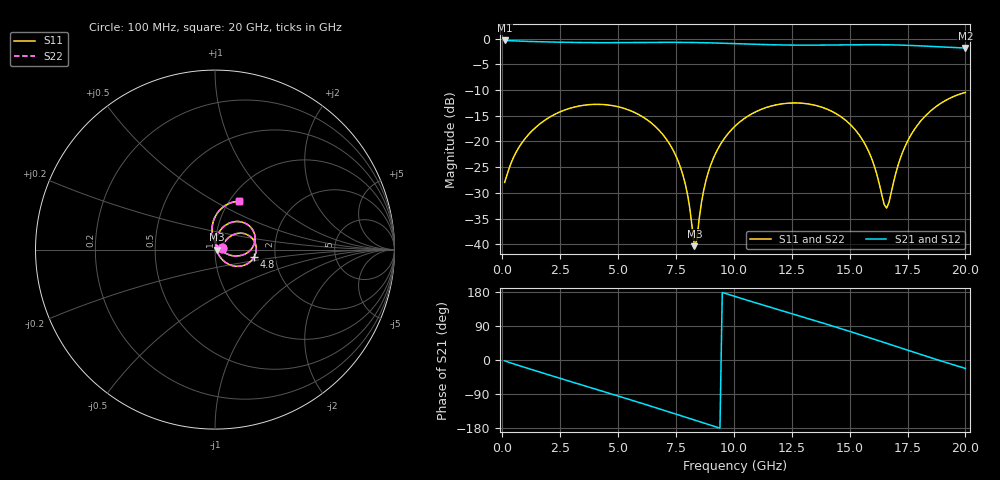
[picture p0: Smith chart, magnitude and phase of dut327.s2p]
! Touchstone file exported from HFSS 2026.1.0
!  File:  C:/ffzhzh/LocalFiles/Ansys_Project_Files/temp_train_TSV_RDL_327_1783032497_53980.aedt
!  Generated:  07:02:27 AM Jul  3, 2026
!  Design:  TSV_RDL
!  Project:  temp_train_TSV_RDL_327_1783032497_53980
! Variables:
!  h_bsmrdl = 2.47um
!  h_ox = 20um
!  h_rdl = 5um
!  h_sub = 52.31um
!  h_tmrdl = 3.34um
!  h_tsv = 52.31um
!  h_via = 3um
!  l_bsmrdl = 854.5um
!  l_sub = 6599.39um
!  l_tmrdl = 877.51um
!  m_sub = 200um
!  pitch = 28.67um
!  r_tsv = 5.45um
!  s_tmrdl = 10um
!  w_bsmrdl = 25.12um
!  w_sub = 500um
!  w_tmrdl = 16.83um
!  x_tsv_center1 = 885.925um
!  x_tsv_center2 = 1765.545um
!  x_tsv_center3 = 2659.885um
!  x_tsv_center4 = 3539.505um
!  x_tsv_center5 = 4433.845um
!  x_tsv_center6 = 5313.465um
# GHz S MA R 50.000000
! Terminal data exported
! Port[1] = TM_RDL1_1_T1
! Port[2] = TM_RDL5_1_T1
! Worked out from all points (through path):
!   200 points, 100 MHz to 20 GHz, reference 50 ohm
!   highest |S21| = -0.34 dB at 100 MHz (marker M1); lowest = -1.8 dB at 20 GHz (marker M2)
!   group delay of S21, straight-line fit = 52.9 ps
!   lowest |S11| = -40.4 dB at 8.3 GHz (marker M3), VSWR 1.02, Z = 51 - j0.0411 ohm
!   |S11| at or under -10 dB: start of sweep to end of sweep
!   |S22| runs from -40.9 to -10.5 dB; largest |S21 - S12| = 2.8e-14
!   S11 on the Smith chart (normalised r, x): 100 MHz: 1.08, +0.02; 4.8 GHz: 1.55, -0.13; 20 GHz: 1.11, +0.65
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0.1  0.04001 16.7  0.962 -2.2  0.962 -2.2  0.04001 16.7
! Gamma 0 0 0 0
! Port Impedance 50 0 50 0
0.6  0.07896 40.2  0.9498 -12.4  0.9498 -12.4  0.07897 40.2
1.3  0.128 39.5  0.9386 -25.8  0.9386 -25.8  0.128 39.5
3.5  0.225 11.0  0.9177 -67.1  0.9177 -67.1  0.225 10.9
4.8  0.2226 -10.2  0.9158 -91.2  0.9158 -91.2  0.2226 -10.3
6.8  0.1266 -43.8  0.9224 -129.2  0.9224 -129.2  0.1265 -44.0
7.8  0.04721 -55.3  0.9216 -148.7  0.9216 -148.7  0.0471 -55.9
8.1  0.02227 -47.7  0.92 -154.6  0.92 -154.6  0.02203 -49.0
8.3  0.009578 -2.4  0.9186 -158.5  0.9186 -158.5  0.009046 -3.3
8.4  0.011 45.8  0.9178 -160.4  0.9178 -160.4  0.01055 47.5
8.7  0.03363 80.9  0.9149 -166.3  0.9149 -166.3  0.0335 81.9
9  0.05895 82.2  0.9114 -172.1  0.9114 -172.1  0.05889 82.8
10.1  0.1444 67.5  0.8953 166.7  0.8953 166.7  0.1444 67.7
11.6  0.2209 42.4  0.8741 138.8  0.8741 138.8  0.2209 42.5
13.4  0.228 12.4  0.8659 105.8  0.8659 105.8  0.228 12.5
15.3  0.1252 -16.6  0.8744 69.7  0.8744 69.7  0.1252 -16.5
16  0.06379 -19.3  0.8756 55.9  0.8756 55.9  0.06375 -19.4
16.5  0.02413 19.1  0.8739 45.9  0.8739 45.9  0.02391 18.9
16.7  0.02554 65.6  0.8726 41.9  0.8726 41.9  0.02528 65.9
17.2  0.06955 98.8  0.8672 31.9  0.8672 31.9  0.0694 99.2
17.8  0.1311 96.6  0.8575 19.9  0.8575 19.9  0.131 96.9
20  0.3003 63.4  0.8117 -22.3  0.8117 -22.3  0.3003 63.6
